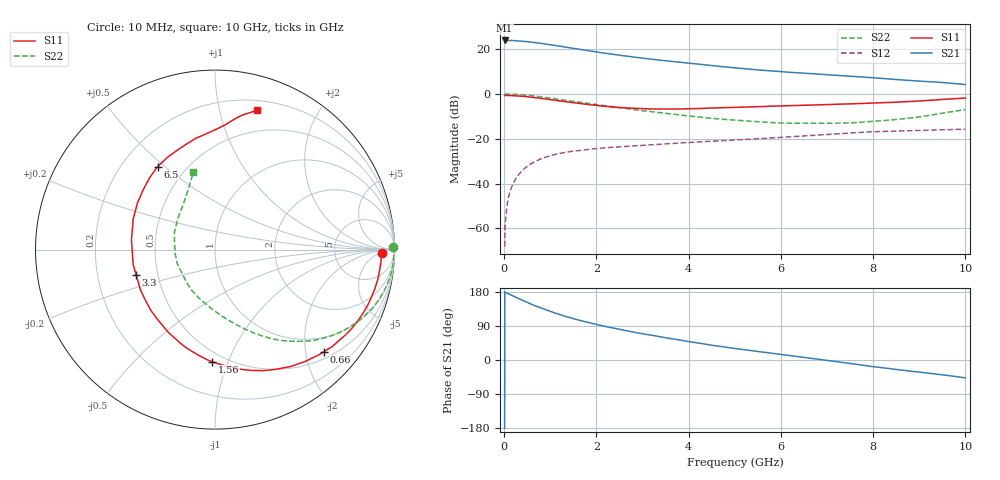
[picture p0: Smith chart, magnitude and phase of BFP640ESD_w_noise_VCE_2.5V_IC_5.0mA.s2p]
! Infineon Technologies  Discrete & RF Semiconductors
! BFP640ESD
! VCE =  2.5 V,  IC =  5.0 mA
! Common Emitter S-Parameters:  Jan 2016
# GHz  S  MA  R  50
!  f  S11  S21  S12  S22
! GHz  MAG  ANG  MAG  ANG  MAG  ANG  MAG  ANG
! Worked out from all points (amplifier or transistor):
!   233 points, 10 MHz to 10 GHz, reference 50 ohm
!   highest |S21| = 23.9 dB at 10 MHz (marker M1)
!   |S21| within 3 dB of that: start of sweep to 1.334 GHz
!   unconditionally stable (mu >= 1): 4.713 GHz to 9.064 GHz
!   at 200 MHz: K = 0.05, MSG = 31.8 dB, |S12| = -39.8 dB
!   at 1.74 GHz: K = 0.46, MSG = 22.2 dB, |S12| = -24.9 dB
!   at 10 GHz: K = 0.83, MSG = 10.0 dB, |S12| = -15.7 dB
!   lowest NFmin = 0.58 dB at 450 MHz
!   S11 on the Smith chart (normalised r, x): 10 MHz: 25, -7; 660 MHz: 0.65, -2.38; 1.56 GHz: 0.43, -0.88; 3.3 GHz: 0.38, -0.13; 6.5 GHz: 0.35, +0.47; 10 GHz: 0.29, +1.31
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0.01  0.9291 -1.1  15.67 -180.0  0.0004 -91.0  0.9891 0.8
0.03  0.926 -2.1  15.58 178.5  0.0016 83.1  0.9982 -1.1
0.09  0.9254 -6.1  15.63 175.0  0.0047 84.7  0.9959 -3.7
0.3  0.9051 -20.2  15.38 162.9  0.0151 78.3  0.9755 -12.3
0.5  0.869 -33.1  14.77 152.0  0.0243 70.9  0.9377 -20.1
0.66  0.8319 -43.1  14.12 143.8  0.0307 65.5  0.8985 -25.7
0.9  0.7753 -57.2  13.05 132.5  0.039 58.5  0.8364 -33.4
1.1  0.7259 -68.3  12.13 124.0  0.0446 53.5  0.7818 -39.1
1.3  0.6786 -78.7  11.25 116.1  0.0492 49.3  0.73 -44.2
1.56  0.6252 -91.3  10.18 107.1  0.054 44.8  0.6682 -49.9
1.68  0.6032 -96.9  9.738 103.2  0.0559 43.1  0.6426 -52.3
2  0.5546 -110.7  8.661 93.9  0.0603 39.4  0.5816 -58.1
2.4  0.5077 -127.8  7.585 83.3  0.0652 35.8  0.5118 -65.1
2.84  0.4775 -145.7  6.614 72.8  0.0697 32.8  0.4454 -72.7
3.3  0.4613 -162.4  5.814 63.2  0.0745 30.5  0.3911 -80.7
3.4  0.4614 -166.1  5.662 61.0  0.0756 30.0  0.3805 -82.6
4  0.4685 173.6  4.883 48.6  0.0825 27.5  0.3235 -94.9
5.1  0.507 147.0  3.748 28.9  0.0951 22.3  0.2563 -122.1
6.5  0.5627 124.7  2.908 6.8  0.1158 15.7  0.2243 -159.6
6.8  0.5716 119.8  2.775 2.2  0.1214 13.7  0.222 -167.1
8.4  0.6503 93.5  2.136 -23.5  0.1476 -0.7  0.2634 143.3
10  0.8105 73.2  1.625 -47.1  0.1636 -14.5  0.4477 105.6
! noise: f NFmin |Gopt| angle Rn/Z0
0.45  0.58  0.41  10  0.14
0.9  0.6  0.39  22  0.13
1.9  0.67  0.31  47  0.12
2.4  0.72  0.27  62  0.11
5.5  1.09  0.34  -144  0.08
10  2.11  0.63  -83  0.89
